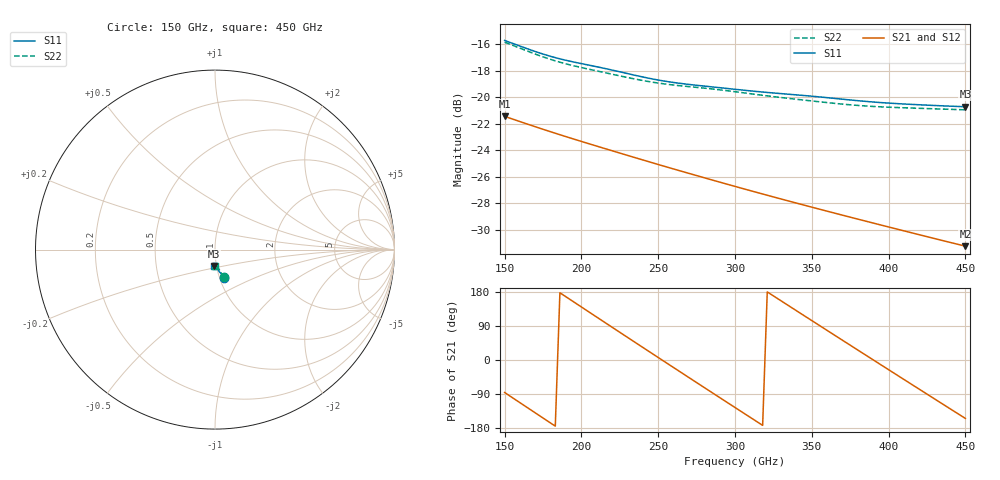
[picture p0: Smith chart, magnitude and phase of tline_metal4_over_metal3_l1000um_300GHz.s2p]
#  GHZ S DB R 50
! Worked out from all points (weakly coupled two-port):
!   101 points, 150 GHz to 450 GHz, reference 50 ohm
!   highest |S21| = -21.43 dB at 150 GHz (marker M1); lowest = -31.3 dB at 450 GHz (marker M2)
!   lowest |S11| = -20.7 dB at 450 GHz (marker M3), VSWR 1.20, Z = 48.4 - j8.96 ohm
!   |S11| at or under -10 dB: start of sweep to end of sweep
!   |S22| runs from -20.9 to -15.8 dB; largest |S21 - S12| = 5.3e-14
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150  -15.70 -72.4  -21.43 -85.7  -21.43 -85.7  -15.83 -72.0
162  -16.20 -73.9  -21.91 -118.1  -21.91 -118.1  -16.37 -73.5
177  -16.80 -75.1  -22.49 -158.4  -22.49 -158.4  -17.02 -74.6
189  -17.17 -75.8  -22.94 169.4  -22.94 169.4  -17.44 -75.0
201  -17.47 -76.7  -23.37 137.2  -23.37 137.2  -17.77 -75.6
213  -17.76 -77.9  -23.79 105.1  -23.79 105.1  -18.07 -76.3
222  -17.99 -78.8  -24.11 81.1  -24.11 81.1  -18.30 -76.9
237  -18.38 -80.0  -24.63 41.1  -24.63 41.1  -18.66 -77.7
252  -18.73 -80.8  -25.15 1.3  -25.15 1.3  -18.95 -78.2
264  -18.94 -81.3  -25.55 -30.5  -25.55 -30.5  -19.12 -78.7
276  -19.10 -81.9  -25.95 -62.2  -25.95 -62.2  -19.26 -79.5
288  -19.24 -82.8  -26.34 -93.8  -26.34 -93.8  -19.40 -80.6
300  -19.39 -83.7  -26.73 -125.3  -26.73 -125.3  -19.57 -81.7
312  -19.53 -84.7  -27.12 -156.8  -27.12 -156.8  -19.75 -82.7
324  -19.66 -85.6  -27.50 171.8  -27.50 171.8  -19.93 -83.6
339  -19.80 -86.9  -27.97 132.7  -27.97 132.7  -20.13 -84.6
351  -19.92 -88.0  -28.34 101.4  -28.34 101.4  -20.28 -85.4
363  -20.06 -89.1  -28.70 70.2  -28.70 70.2  -20.43 -86.1
378  -20.23 -90.2  -29.15 31.3  -29.15 31.3  -20.59 -86.8
402  -20.45 -91.7  -29.86 -30.7  -29.86 -30.7  -20.75 -87.9
426  -20.59 -93.3  -30.57 -92.6  -30.57 -92.6  -20.85 -89.3
450  -20.71 -94.9  -31.26 -154.2  -31.26 -154.2  -20.94 -91.0
